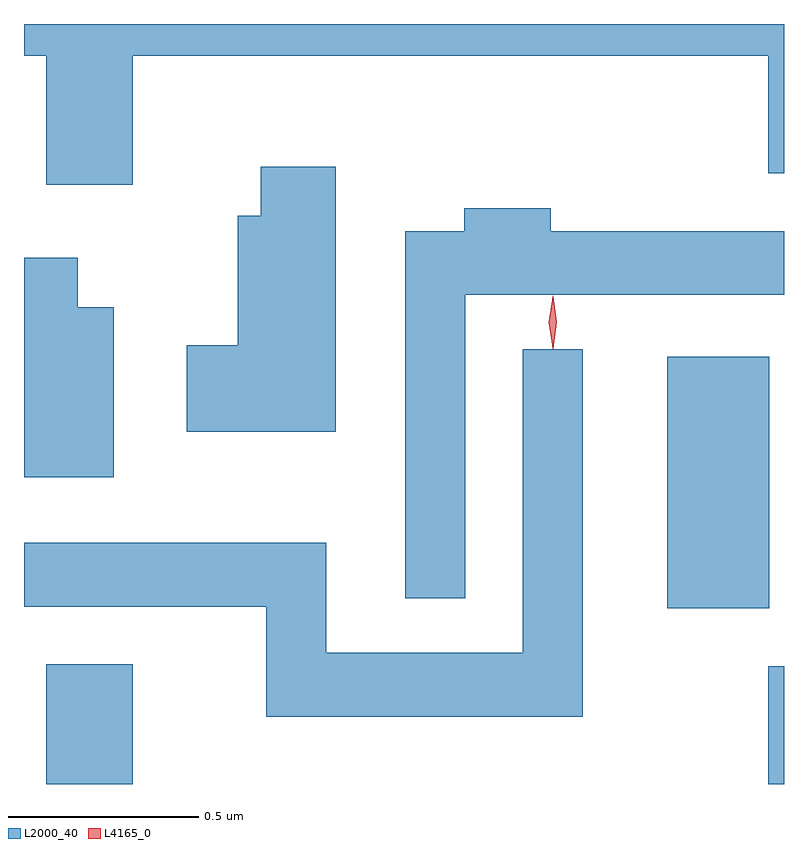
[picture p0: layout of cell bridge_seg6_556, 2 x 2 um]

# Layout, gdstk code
import gdstk
lib = gdstk.Library(unit=1e-6, precision=1e-09)
def R(c, l, rs):  # rectangles x0, y0, x1, y1
    for r in rs: c.add(gdstk.rectangle(r[:2], r[2:], *l))
def P(c, l, *ps):  # polygons
    for p in ps: c.add(gdstk.Polygon(p, *l))
L2000_40 = (2000, 40)
L4165_0 = (4165, 0)

bridge_seg6_556 = lib.new_cell('bridge_seg6_556')
R(bridge_seg6_556, L2000_40, [(551.801,1634.699,552.029,1635.014), (553.701,1634.699,553.743,1635.009), (553.436,1635.161,553.704,1635.824)])
P(bridge_seg6_556, L2000_40, [(552.029,1636.616),(553.701,1636.616),(553.701,1636.306),(553.743,1636.306),(553.743,1636.699),(551.743,1636.699),(551.743,1636.616),(551.801,1636.616),(551.801,1636.276),(552.029,1636.276)],
  [(552.564,1636.324),(552.366,1636.324),(552.366,1636.194),(552.306,1636.194),(552.306,1635.854),(552.171,1635.854),(552.171,1635.626),(552.564,1635.626)],
  [(552.904,1635.986),(553.743,1635.986),(553.743,1636.154),(553.129,1636.154),(553.129,1636.214),(552.901,1636.214),(552.901,1636.154),(552.746,1636.154),(552.746,1635.188),(552.904,1635.188)],
  [(551.979,1635.954),(551.884,1635.954),(551.884,1636.084),(551.743,1636.084),(551.743,1635.506),(551.979,1635.506)],
  [(553.214,1635.843),(553.056,1635.843),(553.056,1635.044),(552.539,1635.044),(552.539,1635.334),(551.743,1635.334),(551.743,1635.166),(552.381,1635.166),(552.381,1634.876),(553.214,1634.876)])
P(bridge_seg6_556, L4165_0, [(553.134,1635.847),(553.134,1635.848),(553.124,1635.914),(553.134,1635.98),(553.134,1635.981),(553.135,1635.98),(553.144,1635.914),(553.135,1635.848)],
  [(553.135,1635.844),(553.135,1635.844),(553.125,1635.914),(553.135,1635.983),(553.135,1635.983),(553.136,1635.983),(553.145,1635.914),(553.136,1635.844)])

lib.write_gds('bridge_seg6_556.gds')
